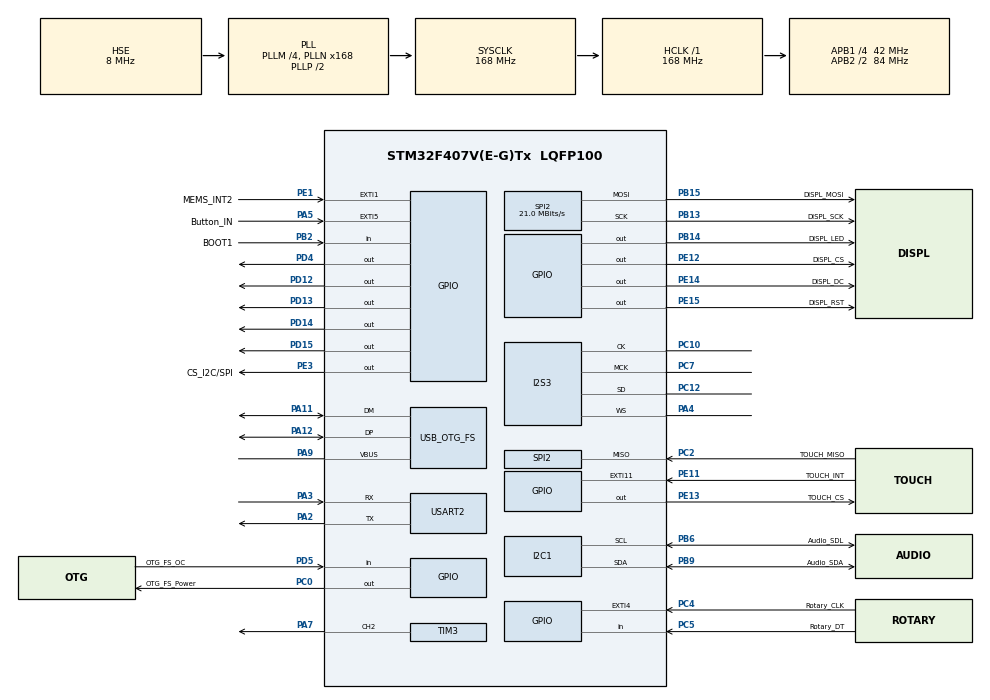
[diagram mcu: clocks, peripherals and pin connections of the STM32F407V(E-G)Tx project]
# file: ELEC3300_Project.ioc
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Dma.Request0=SPI3_TX
Dma.Request1=SPI2_TX
Dma.SPI2_TX.1.Direction=DMA_MEMORY_TO_PERIPH
Dma.SPI2_TX.1.FIFOMode=DMA_FIFOMODE_DISABLE
Dma.SPI2_TX.1.Instance=DMA1_Stream4
Dma.SPI2_TX.1.MemDataAlignment=DMA_MDATAALIGN_BYTE
Dma.SPI2_TX.1.MemInc=DMA_MINC_ENABLE
Dma.SPI2_TX.1.Mode=DMA_NORMAL
Dma.SPI2_TX.1.PeriphDataAlignment=DMA_PDATAALIGN_BYTE
Dma.SPI2_TX.1.PeriphInc=DMA_PINC_DISABLE
Dma.SPI2_TX.1.Priority=DMA_PRIORITY_LOW
Dma.SPI3_TX.0.Direction=DMA_MEMORY_TO_PERIPH
Dma.SPI3_TX.0.FIFOMode=DMA_FIFOMODE_ENABLE
Dma.SPI3_TX.0.FIFOThreshold=DMA_FIFO_THRESHOLD_HALFFULL
Dma.SPI3_TX.0.Instance=DMA1_Stream5
Dma.SPI3_TX.0.MemBurst=DMA_MBURST_SINGLE
Dma.SPI3_TX.0.MemDataAlignment=DMA_MDATAALIGN_HALFWORD
Dma.SPI3_TX.0.MemInc=DMA_MINC_ENABLE
Dma.SPI3_TX.0.Mode=DMA_CIRCULAR
Dma.SPI3_TX.0.PeriphBurst=DMA_PBURST_SINGLE
Dma.SPI3_TX.0.PeriphDataAlignment=DMA_PDATAALIGN_HALFWORD
Dma.SPI3_TX.0.PeriphInc=DMA_PINC_DISABLE
Dma.SPI3_TX.0.Priority=DMA_PRIORITY_LOW
I2S3.ErrorAudioFreq=1.72 %
I2S3.FullDuplexMode=I2S_FULLDUPLEXMODE_DISABLE
I2S3.Instance=SPI$Index
I2S3.RealAudioFreq=8.138 KHz
I2S3.VirtualMode=I2S_MODE_MASTER
Mcu.Family=STM32F4
Mcu.Name=STM32F407V(E-G)Tx
Mcu.Package=LQFP100
NVIC.DMA1_Stream4_IRQn=true\:0\:0\:false\:false\:true\:false\:true\:true
NVIC.DMA1_Stream5_IRQn=true\:0\:0\:false\:false\:true\:false\:true\:true
NVIC.EXTI15_10_IRQn=true\:0\:0\:false\:false\:true\:true\:true\:true
NVIC.EXTI4_IRQn=true\:0\:0\:false\:false\:true\:true\:true\:true
NVIC.EXTI9_5_IRQn=true\:0\:0\:false\:false\:true\:true\:true\:true
NVIC.OTG_FS_IRQn=true\:0\:0\:false\:false\:true\:true\:true\:true
NVIC.PriorityGroup=NVIC_PRIORITYGROUP_0
NVIC.SPI2_IRQn=true\:0\:0\:false\:false\:true\:true\:true\:true
PA10.Signal=USB_OTG_FS_ID
PA11.GPIO_Speed=GPIO_SPEED_FREQ_LOW
PA11.Mode=Host_Only
PA11.Signal=USB_OTG_FS_DM
PA12.GPIO_Speed=GPIO_SPEED_FREQ_LOW
PA12.Mode=Host_Only
PA12.Signal=USB_OTG_FS_DP
PA13.Mode=Serial_Wire
PA13.Signal=SYS_JTMS-SWDIO
PA14.Mode=Serial_Wire
PA14.Signal=SYS_JTCK-SWCLK
PA2.Mode=Asynchronous
PA2.Signal=USART2_TX
PA3.Mode=Asynchronous
PA3.Signal=USART2_RX
PA4.Mode=Half_Duplex_Master
PA4.Signal=I2S3_WS
PA5.GPIO_Label=Button_IN
PA5.Signal=GPXTI5
PA7.Signal=S_TIM3_CH2
PA9.Mode=Activate_VBUS
PA9.Signal=USB_OTG_FS_VBUS
PB13.GPIO_Label=DISPL_SCK
PB13.Mode=Full_Duplex_Master
PB13.Signal=SPI2_SCK
PB14.GPIO_Label=DISPL_LED
PB14.Signal=GPIO_Output
PB15.GPIO_Label=DISPL_MOSI
PB15.Mode=Full_Duplex_Master
PB15.Signal=SPI2_MOSI
PB2.GPIO_Label=BOOT1
PB2.Signal=GPIO_Input
PB6.GPIO_Label=Audio_SDL
PB6.Mode=I2C
PB6.Signal=I2C1_SCL
PB9.GPIO_Label=Audio_SDA
PB9.Mode=I2C
PB9.Signal=I2C1_SDA
PC0.GPIO_Label=OTG_FS_Power
PC0.PinState=GPIO_PIN_SET
PC0.Signal=GPIO_Output
PC10.Mode=Half_Duplex_Master
PC10.Signal=I2S3_CK
PC12.Mode=Half_Duplex_Master
PC12.Signal=I2S3_SD
PC14-OSC32_IN.Mode=LSE-External-Oscillator
PC14-OSC32_IN.Signal=RCC_OSC32_IN
PC15-OSC32_OUT.Mode=LSE-External-Oscillator
PC15-OSC32_OUT.Signal=RCC_OSC32_OUT
PC2.GPIO_Label=TOUCH_MISO
PC2.Mode=Full_Duplex_Master
PC2.Signal=SPI2_MISO
PC4.GPIO_Label=Rotary_CLK
PC4.GPIO_ModeDefaultEXTI=GPIO_MODE_IT_RISING_FALLING
PC4.Signal=GPXTI4
PC5.GPIO_Label=Rotary_DT
PC5.Signal=GPIO_Input
PC7.Mode=Master_Clock_Activated
PC7.Signal=I2S3_MCK
PD12.Signal=GPIO_Output
PD13.Signal=GPIO_Output
PD14.Signal=GPIO_Output
PD15.Signal=GPIO_Output
PD4.Signal=GPIO_Output
PD5.GPIO_Label=OTG_FS_OC
PD5.Signal=GPIO_Input
PE1.GPIO_Label=MEMS_INT2
PE1.Signal=GPXTI1
PE11.GPIO_Label=TOUCH_INT
PE11.GPIO_ModeDefaultEXTI=GPIO_MODE_IT_FALLING
PE11.GPIO_PuPd=GPIO_PULLUP
PE11.Signal=GPXTI11
PE12.GPIO_Label=DISPL_CS
PE12.GPIO_Speed=GPIO_SPEED_FREQ_HIGH
PE12.PinState=GPIO_PIN_SET
PE12.Signal=GPIO_Output
PE13.GPIO_Label=TOUCH_CS
PE13.GPIO_Speed=GPIO_SPEED_FREQ_HIGH
PE13.PinState=GPIO_PIN_SET
PE13.Signal=GPIO_Output
PE14.GPIO_Label=DISPL_DC
PE14.GPIO_Speed=GPIO_SPEED_FREQ_HIGH
PE14.Signal=GPIO_Output
PE15.GPIO_Label=DISPL_RST
PE15.Signal=GPIO_Output
PE3.GPIO_Label=CS_I2C/SPI
PE3.Signal=GPIO_Output
PH0-OSC_IN.Mode=HSE-External-Oscillator
PH0-OSC_IN.Signal=RCC_OSC_IN
PH1-OSC_OUT.Mode=HSE-External-Oscillator
PH1-OSC_OUT.Signal=RCC_OSC_OUT
ProjectManager.HeapSize=0x200
ProjectManager.StackSize=0x400
ProjectManager.TargetToolchain=STM32CubeIDE
RCC.48MHZClocksFreq_Value=48000000
RCC.AHBFreq_Value=168000000
RCC.APB1CLKDivider=RCC_HCLK_DIV4
RCC.APB1Freq_Value=42000000
RCC.APB1TimFreq_Value=84000000
RCC.APB2CLKDivider=RCC_HCLK_DIV2
RCC.APB2Freq_Value=84000000
RCC.APB2TimFreq_Value=168000000
RCC.CortexFreq_Value=168000000
RCC.HCLKFreq_Value=168000000
RCC.HSE_VALUE=8000000
RCC.HSI_VALUE=16000000
RCC.PLLI2SN=50
RCC.PLLM=4
RCC.PLLN=168
RCC.PLLQ=7
RCC.SYSCLKFreq_VALUE=168000000
RCC.SYSCLKSource=RCC_SYSCLKSOURCE_PLLCLK
RCC.VCOOutputFreq_Value=336000000
SH.S_TIM3_CH2.0=TIM3_CH2,PWM Generation2 CH2
SPI2.CalculateBaudRate=21.0 MBits/s
SPI2.Direction=SPI_DIRECTION_2LINES
SPI2.Mode=SPI_MODE_MASTER
SPI2.VirtualType=VM_MASTER
TIM3.Channel-PWM\ Generation2\ CH2=TIM_CHANNEL_2
TIM3.Prescaler=10000
USART2.VirtualMode=VM_ASYNC
USB_HOST.BSP.number=1
USB_HOST.USBH_HandleTypeDef-AUDIO_FS=hUsbHostFS
USB_HOST.VirtualModeFS=Audio
USB_HOST0.BSP.STBoard=false
USB_HOST0.BSP.api=Unknown
USB_HOST0.BSP.i2caddr=0
USB_HOST0.BSP.instance=PC0
USB_HOST0.BSP.ip=GPIO
USB_HOST0.BSP.mode=Output
USB_HOST0.BSP.name=Drive_VBUS_FS
USB_HOST0.BSP.solution=PC0
USB_OTG_FS.VirtualMode=Host_Only
USB_OTG_FS.phy_itface=HCD_PHY_EMBEDDED
VP_CRC_VS_CRC.Mode=CRC_Activate
VP_USB_HOST_VS_USB_HOST_AUDIO_FS.Mode=AUDIO_FS
board=STM32F407G-DISC1

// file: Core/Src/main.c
/* USER CODE BEGIN Header */
/**
  ******************************************************************************
  * @file           : main.c
  * @brief          : Main program body
  ******************************************************************************
  * @attention
  *
  * Copyright (c) 2024 STMicroelectronics.
  * All rights reserved.
  *
  * This software is licensed under terms that can be found in the LICENSE file
  * in the root directory of this software component.
  * If no LICENSE file comes with this software, it is provided AS-IS.
  *
  ******************************************************************************
  */
/* USER CODE END Header */
#include "main.h"
#include "usb_host.h"

/* USER CODE BEGIN Includes */

#include <math.h>
#include "midi.h"
#include "synth.h"
#include "../../Drivers/USBH_midi_class/Inc/usbh_MIDI.h"

/* USER CODE END Includes */

 CRC_HandleTypeDef hcrc;

I2C_HandleTypeDef hi2c1;

I2S_HandleTypeDef hi2s3;
DMA_HandleTypeDef hdma_spi3_tx;

SPI_HandleTypeDef hspi2;
DMA_HandleTypeDef hdma_spi2_tx;

TIM_HandleTypeDef htim3;

UART_HandleTypeDef huart2;

/* USER CODE BEGIN PV */
extern USBH_HandleTypeDef hUsbHostFS;
extern ApplicationTypeDef Appli_state;

#define PI 3.14159f

/* USER CODE END PV */

void SystemClock_Config(void);
static void MX_GPIO_Init(void);
static void MX_DMA_Init(void);
static void MX_I2C1_Init(void);
static void MX_I2S3_Init(void);
static void MX_USART2_UART_Init(void);
static void MX_SPI2_Init(void);
static void MX_CRC_Init(void);
static void MX_TIM3_Init(void);
void MX_USB_HOST_Process(void);

/* USER CODE BEGIN PFP */
/* Private function prototypes -----------------------------------------------*/

/* USER CODE END PFP */

/* USER CODE BEGIN 0 */
int CLKPrevious = 0;
int refreshLCD = 1;
volatile int menu_counter = 0;
volatile int menu2_counter = 0;
volatile int menu3_counter = 0;
volatile int Attack_counter = 0;
volatile int Decay_counter = 0;
volatile int Sustain_counter = 0;
volatile int Release_counter = 0;
volatile int Scale_counter = 0;
volatile int menu2_running = 0;
volatile int menu1_running = 1;
volatile int menu3_running = 0;
volatile int Attack_running = 0;
volatile int Decay_running = 0;
volatile int Sustain_running = 0;
volatile int Release_running = 0;
volatile int Scale_running = 0;
char str[16];
volatile int button_pressed = 0;
volatile int ATT_BACK = 0;
volatile int DEC_BACK = 0;
volatile int SUS_BACK = 0;
volatile int REL_BACK = 0;
volatile int SCL_BACK = 0;
/* USER CODE END 0 */

int main(void)
{
  /* USER CODE BEGIN 1 */
  ApplicationTypeDef last_Appli_state = Appli_state;
  /* USER CODE END 1 */

  /* MCU Configuration--------------------------------------------------------*/

  /* Reset of all peripherals, Initializes the Flash interface and the Systick. */
  HAL_Init();

  /* Configure the system clock */
  SystemClock_Config();

  /* Initialize all configured peripherals */
  MX_GPIO_Init();
  MX_DMA_Init();
  MX_I2C1_Init();
  MX_I2S3_Init();
  MX_USART2_UART_Init();
  MX_USB_HOST_Init();
  MX_SPI2_Init();
  MX_CRC_Init();
  MX_TIM3_Init();
  /* USER CODE BEGIN 2 */
  synth_init();
  Displ_Init(Displ_Orientat_0);			// initialize display controller - set orientation parameter as per your needs
  Displ_CLS(BLACK);						// clear the screen - BLACK or any other color you prefer
  Displ_BackLight('I');  					// initialize backlight
  InitMenu();

  /* USER CODE END 2 */

  /* Infinite loop */
  while (1)
  {
    MX_USB_HOST_Process();

    /* USER CODE BEGIN 3 */

    if(last_Appli_state != Appli_state) {
      last_Appli_state = Appli_state;

      if(Appli_state == APPLICATION_READY) {
        start_midi(); // Initialize midi controller
        callDrawMenu(1);

      }

    }
    if(last_Appli_state != APPLICATION_READY) {
    	continue;
    	// Don't do RunMenu1() when Appli_state != APPLICATION_READY
    }

    if((refreshLCD==1||button_pressed==1)&&menu1_running == 1){
                	RunMenu1(menu_counter, button_pressed);
                	button_pressed = 0;
                	refreshLCD = 0;
            }
            else if((refreshLCD==1||button_pressed==1)&&menu2_running == 1){
            	RunMenu2(menu2_counter, button_pressed);
            	button_pressed = 0;
            	refreshLCD = 0;
            }
            else if((refreshLCD==1||button_pressed==1)&&menu3_running == 1){

                       	RunMenu3(menu3_counter, button_pressed);
                       	button_pressed = 0;
                       	refreshLCD = 0;
            }

  }
  /* USER CODE END 3 */
}

void SystemClock_Config(void)
{
  RCC_OscInitTypeDef RCC_OscInitStruct = {0};
  RCC_ClkInitTypeDef RCC_ClkInitStruct = {0};

  /** Configure the main internal regulator output voltage
  */
  __HAL_RCC_PWR_CLK_ENABLE();
  __HAL_PWR_VOLTAGESCALING_CONFIG(PWR_REGULATOR_VOLTAGE_SCALE1);

  /** Initializes the RCC Oscillators according to the specified parameters
  * in the RCC_OscInitTypeDef structure.
  */
  RCC_OscInitStruct.OscillatorType = RCC_OSCILLATORTYPE_HSE;
  RCC_OscInitStruct.HSEState = RCC_HSE_ON;
  RCC_OscInitStruct.PLL.PLLState = RCC_PLL_ON;
  RCC_OscInitStruct.PLL.PLLSource = RCC_PLLSOURCE_HSE;
  RCC_OscInitStruct.PLL.PLLM = 4;
  RCC_OscInitStruct.PLL.PLLN = 168;
  RCC_OscInitStruct.PLL.PLLP = RCC_PLLP_DIV2;
  RCC_OscInitStruct.PLL.PLLQ = 7;
  if (HAL_RCC_OscConfig(&RCC_OscInitStruct) != HAL_OK)
  {
    Error_Handler();
  }

  /** Initializes the CPU, AHB and APB buses clocks
  */
  RCC_ClkInitStruct.ClockType = RCC_CLOCKTYPE_HCLK|RCC_CLOCKTYPE_SYSCLK
                              |RCC_CLOCKTYPE_PCLK1|RCC_CLOCKTYPE_PCLK2;
  RCC_ClkInitStruct.SYSCLKSource = RCC_SYSCLKSOURCE_PLLCLK;
  RCC_ClkInitStruct.AHBCLKDivider = RCC_SYSCLK_DIV1;
  RCC_ClkInitStruct.APB1CLKDivider = RCC_HCLK_DIV4;
  RCC_ClkInitStruct.APB2CLKDivider = RCC_HCLK_DIV2;

  if (HAL_RCC_ClockConfig(&RCC_ClkInitStruct, FLASH_LATENCY_5) != HAL_OK)
  {
    Error_Handler();
  }
}

static void MX_CRC_Init(void)
{

  hcrc.Instance = CRC;
  if (HAL_CRC_Init(&hcrc) != HAL_OK)
  {
    Error_Handler();
  }

}

static void MX_I2C1_Init(void)
{

  hi2c1.Instance = I2C1;
  hi2c1.Init.ClockSpeed = 100000;
  hi2c1.Init.DutyCycle = I2C_DUTYCYCLE_2;
  hi2c1.Init.OwnAddress1 = 0;
  hi2c1.Init.AddressingMode = I2C_ADDRESSINGMODE_7BIT;
  hi2c1.Init.DualAddressMode = I2C_DUALADDRESS_DISABLE;
  hi2c1.Init.OwnAddress2 = 0;
  hi2c1.Init.GeneralCallMode = I2C_GENERALCALL_DISABLE;
  hi2c1.Init.NoStretchMode = I2C_NOSTRETCH_DISABLE;
  if (HAL_I2C_Init(&hi2c1) != HAL_OK)
  {
    Error_Handler();
  }

}

static void MX_I2S3_Init(void)
{

  hi2s3.Instance = SPI3;
  hi2s3.Init.Mode = I2S_MODE_MASTER_TX;
  hi2s3.Init.Standard = I2S_STANDARD_PHILIPS;
  hi2s3.Init.DataFormat = I2S_DATAFORMAT_16B;
  hi2s3.Init.MCLKOutput = I2S_MCLKOUTPUT_ENABLE;
  hi2s3.Init.AudioFreq = I2S_AUDIOFREQ_8K;
  hi2s3.Init.CPOL = I2S_CPOL_LOW;
  hi2s3.Init.ClockSource = I2S_CLOCK_PLL;
  hi2s3.Init.FullDuplexMode = I2S_FULLDUPLEXMODE_DISABLE;
  if (HAL_I2S_Init(&hi2s3) != HAL_OK)
  {
    Error_Handler();
  }

}

static void MX_SPI2_Init(void)
{

  /* SPI2 parameter configuration*/
  hspi2.Instance = SPI2;
  hspi2.Init.Mode = SPI_MODE_MASTER;
  hspi2.Init.Direction = SPI_DIRECTION_2LINES;
  hspi2.Init.DataSize = SPI_DATASIZE_8BIT;
  hspi2.Init.CLKPolarity = SPI_POLARITY_LOW;
  hspi2.Init.CLKPhase = SPI_PHASE_1EDGE;
  hspi2.Init.NSS = SPI_NSS_SOFT;
  hspi2.Init.BaudRatePrescaler = SPI_BAUDRATEPRESCALER_2;
  hspi2.Init.FirstBit = SPI_FIRSTBIT_MSB;
  hspi2.Init.TIMode = SPI_TIMODE_DISABLE;
  hspi2.Init.CRCCalculation = SPI_CRCCALCULATION_DISABLE;
  hspi2.Init.CRCPolynomial = 10;
  if (HAL_SPI_Init(&hspi2) != HAL_OK)
  {
    Error_Handler();
  }

}

static void MX_TIM3_Init(void)
{

  TIM_MasterConfigTypeDef sMasterConfig = {0};
  TIM_OC_InitTypeDef sConfigOC = {0};

  htim3.Instance = TIM3;
  htim3.Init.Prescaler = 10000;
  htim3.Init.CounterMode = TIM_COUNTERMODE_UP;
  htim3.Init.Period = 65535;
  htim3.Init.ClockDivision = TIM_CLOCKDIVISION_DIV1;
  htim3.Init.AutoReloadPreload = TIM_AUTORELOAD_PRELOAD_DISABLE;
  if (HAL_TIM_PWM_Init(&htim3) != HAL_OK)
  {
    Error_Handler();
  }
  sMasterConfig.MasterOutputTrigger = TIM_TRGO_RESET;
  sMasterConfig.MasterSlaveMode = TIM_MASTERSLAVEMODE_DISABLE;
  if (HAL_TIMEx_MasterConfigSynchronization(&htim3, &sMasterConfig) != HAL_OK)
  {
    Error_Handler();
  }
  sConfigOC.OCMode = TIM_OCMODE_PWM1;
  sConfigOC.Pulse = 0;
  sConfigOC.OCPolarity = TIM_OCPOLARITY_HIGH;
  sConfigOC.OCFastMode = TIM_OCFAST_DISABLE;
  if (HAL_TIM_PWM_ConfigChannel(&htim3, &sConfigOC, TIM_CHANNEL_2) != HAL_OK)
  {
    Error_Handler();
  }
  HAL_TIM_MspPostInit(&htim3);

}

static void MX_USART2_UART_Init(void)
{

  huart2.Instance = USART2;
  huart2.Init.BaudRate = 115200;
  huart2.Init.WordLength = UART_WORDLENGTH_8B;
  huart2.Init.StopBits = UART_STOPBITS_1;
  huart2.Init.Parity = UART_PARITY_NONE;
  huart2.Init.Mode = UART_MODE_TX_RX;
  huart2.Init.HwFlowCtl = UART_HWCONTROL_NONE;
  huart2.Init.OverSampling = UART_OVERSAMPLING_16;
  if (HAL_UART_Init(&huart2) != HAL_OK)
  {
    Error_Handler();
  }

}

static void MX_DMA_Init(void)
{

  /* DMA controller clock enable */
  __HAL_RCC_DMA1_CLK_ENABLE();

  /* DMA interrupt init */
  /* DMA1_Stream4_IRQn interrupt configuration */
  HAL_NVIC_SetPriority(DMA1_Stream4_IRQn, 0, 0);
  HAL_NVIC_EnableIRQ(DMA1_Stream4_IRQn);
  /* DMA1_Stream5_IRQn interrupt configuration */
  HAL_NVIC_SetPriority(DMA1_Stream5_IRQn, 0, 0);
  HAL_NVIC_EnableIRQ(DMA1_Stream5_IRQn);

}

static void MX_GPIO_Init(void)
{
  GPIO_InitTypeDef GPIO_InitStruct = {0};

  /* GPIO Ports Clock Enable */
  __HAL_RCC_GPIOE_CLK_ENABLE();
  __HAL_RCC_GPIOC_CLK_ENABLE();
  __HAL_RCC_GPIOH_CLK_ENABLE();
  __HAL_RCC_GPIOA_CLK_ENABLE();
  __HAL_RCC_GPIOB_CLK_ENABLE();
  __HAL_RCC_GPIOD_CLK_ENABLE();

  /*Configure GPIO pin Output Level */
  HAL_GPIO_WritePin(GPIOE, CS_I2C_SPI_Pin|DISPL_DC_Pin|DISPL_RST_Pin, GPIO_PIN_RESET);

  /*Configure GPIO pin Output Level */
  HAL_GPIO_WritePin(OTG_FS_Power_GPIO_Port, OTG_FS_Power_Pin, GPIO_PIN_SET);

  /*Configure GPIO pin Output Level */
  HAL_GPIO_WritePin(GPIOE, DISPL_CS_Pin|TOUCH_CS_Pin, GPIO_PIN_SET);

  /*Configure GPIO pin Output Level */
  HAL_GPIO_WritePin(DISPL_LED_GPIO_Port, DISPL_LED_Pin, GPIO_PIN_RESET);

  /*Configure GPIO pin Output Level */
  HAL_GPIO_WritePin(GPIOD, GPIO_PIN_12|GPIO_PIN_13|GPIO_PIN_14|GPIO_PIN_15
                          |GPIO_PIN_4, GPIO_PIN_RESET);

  /*Configure GPIO pins : CS_I2C_SPI_Pin DISPL_RST_Pin */
  GPIO_InitStruct.Pin = CS_I2C_SPI_Pin|DISPL_RST_Pin;
  GPIO_InitStruct.Mode = GPIO_MODE_OUTPUT_PP;
  GPIO_InitStruct.Pull = GPIO_NOPULL;
  GPIO_InitStruct.Speed = GPIO_SPEED_FREQ_LOW;
  HAL_GPIO_Init(GPIOE, &GPIO_InitStruct);

  /*Configure GPIO pin : OTG_FS_Power_Pin */
  GPIO_InitStruct.Pin = OTG_FS_Power_Pin;
  GPIO_InitStruct.Mode = GPIO_MODE_OUTPUT_PP;
  GPIO_InitStruct.Pull = GPIO_NOPULL;
  GPIO_InitStruct.Speed = GPIO_SPEED_FREQ_LOW;
  HAL_GPIO_Init(OTG_FS_Power_GPIO_Port, &GPIO_InitStruct);

  /*Configure GPIO pin : Button_IN_Pin */
  GPIO_InitStruct.Pin = Button_IN_Pin;
  GPIO_InitStruct.Mode = GPIO_MODE_IT_RISING;
  GPIO_InitStruct.Pull = GPIO_NOPULL;
  HAL_GPIO_Init(Button_IN_GPIO_Port, &GPIO_InitStruct);

  /*Configure GPIO pin : Rotary_CLK_Pin */
  GPIO_InitStruct.Pin = Rotary_CLK_Pin;
  GPIO_InitStruct.Mode = GPIO_MODE_IT_RISING_FALLING;
  GPIO_InitStruct.Pull = GPIO_NOPULL;
  HAL_GPIO_Init(Rotary_CLK_GPIO_Port, &GPIO_InitStruct);

  /*Configure GPIO pin : Rotary_DT_Pin */
  GPIO_InitStruct.Pin = Rotary_DT_Pin;
  GPIO_InitStruct.Mode = GPIO_MODE_INPUT;
  GPIO_InitStruct.Pull = GPIO_NOPULL;
  HAL_GPIO_Init(Rotary_DT_GPIO_Port, &GPIO_InitStruct);

  /*Configure GPIO pin : BOOT1_Pin */
  GPIO_InitStruct.Pin = BOOT1_Pin;
  GPIO_InitStruct.Mode = GPIO_MODE_INPUT;
  GPIO_InitStruct.Pull = GPIO_NOPULL;
  HAL_GPIO_Init(BOOT1_GPIO_Port, &GPIO_InitStruct);

  /*Configure GPIO pin : TOUCH_INT_Pin */
  GPIO_InitStruct.Pin = TOUCH_INT_Pin;
  GPIO_InitStruct.Mode = GPIO_MODE_IT_FALLING;
  GPIO_InitStruct.Pull = GPIO_PULLUP;
  HAL_GPIO_Init(TOUCH_INT_GPIO_Port, &GPIO_InitStruct);

  /*Configure GPIO pins : DISPL_CS_Pin TOUCH_CS_Pin DISPL_DC_Pin */
  GPIO_InitStruct.Pin = DISPL_CS_Pin|TOUCH_CS_Pin|DISPL_DC_Pin;
  GPIO_InitStruct.Mode = GPIO_MODE_OUTPUT_PP;
  GPIO_InitStruct.Pull = GPIO_NOPULL;
  GPIO_InitStruct.Speed = GPIO_SPEED_FREQ_HIGH;
  HAL_GPIO_Init(GPIOE, &GPIO_InitStruct);

  /*Configure GPIO pin : DISPL_LED_Pin */
  GPIO_InitStruct.Pin = DISPL_LED_Pin;
  GPIO_InitStruct.Mode = GPIO_MODE_OUTPUT_PP;
  GPIO_InitStruct.Pull = GPIO_NOPULL;
  GPIO_InitStruct.Speed = GPIO_SPEED_FREQ_LOW;
  HAL_GPIO_Init(DISPL_LED_GPIO_Port, &GPIO_InitStruct);

  /*Configure GPIO pins : PD12 PD13 PD14 PD15
                           PD4 */
  GPIO_InitStruct.Pin = GPIO_PIN_12|GPIO_PIN_13|GPIO_PIN_14|GPIO_PIN_15
                          |GPIO_PIN_4;
  GPIO_InitStruct.Mode = GPIO_MODE_OUTPUT_PP;
  GPIO_InitStruct.Pull = GPIO_NOPULL;
  GPIO_InitStruct.Speed = GPIO_SPEED_FREQ_LOW;
  HAL_GPIO_Init(GPIOD, &GPIO_InitStruct);

  /*Configure GPIO pin : OTG_FS_OC_Pin */
  GPIO_InitStruct.Pin = OTG_FS_OC_Pin;
  GPIO_InitStruct.Mode = GPIO_MODE_INPUT;
  GPIO_InitStruct.Pull = GPIO_NOPULL;
  HAL_GPIO_Init(OTG_FS_OC_GPIO_Port, &GPIO_InitStruct);

  /*Configure GPIO pin : MEMS_INT2_Pin */
  GPIO_InitStruct.Pin = MEMS_INT2_Pin;
  GPIO_InitStruct.Mode = GPIO_MODE_IT_RISING;
  GPIO_InitStruct.Pull = GPIO_NOPULL;
  HAL_GPIO_Init(MEMS_INT2_GPIO_Port, &GPIO_InitStruct);

  /* EXTI interrupt init*/
  HAL_NVIC_SetPriority(EXTI4_IRQn, 0, 0);
  HAL_NVIC_EnableIRQ(EXTI4_IRQn);

  HAL_NVIC_SetPriority(EXTI9_5_IRQn, 0, 0);
  HAL_NVIC_EnableIRQ(EXTI9_5_IRQn);

  HAL_NVIC_SetPriority(EXTI15_10_IRQn, 0, 0);
  HAL_NVIC_EnableIRQ(EXTI15_10_IRQn);

}

/* USER CODE BEGIN 4 */
void readEncoder()
{
if(menu1_running ==1){
	if(Scale_running==0){
		int CLKNow = HAL_GPIO_ReadPin(GPIOC, GPIO_PIN_4); // Read the state of the CLK pin
		if (CLKNow != CLKPrevious)
		{
			int DTNow = HAL_GPIO_ReadPin(GPIOC, GPIO_PIN_5); // Read the state of the DT pin
			if (DTNow != CLKNow) // If DT state is different from CLK state, encoder is rotating in A direction
			{
				if (menu_counter < 2)
					menu_counter++;
				else
					menu_counter = 0;
			}
			else // Encoder is rotating in B direction
			{
				if (menu_counter < 1)
					menu_counter = 2;
				else
					menu_counter--;
			}
			refreshLCD = 1;
		}
		CLKPrevious = CLKNow; // Store last state of CLK
	}
	else if(Scale_running==1){
		int CLKNow = HAL_GPIO_ReadPin(GPIOC, GPIO_PIN_4); // Read the state of the CLK pin
				if (CLKNow != CLKPrevious)
				{
					int DTNow = HAL_GPIO_ReadPin(GPIOC, GPIO_PIN_5); // Read the state of the DT pin
					if (DTNow != CLKNow) // If DT state is different from CLK state, encoder is rotating in A direction
					{
						if (Scale_counter < 10)
							Scale_counter++;
						else
							Scale_counter = 0;
					}
					else // Encoder is rotating in B direction
					{
						if (Scale_counter < 1)
							Scale_counter = 10;
						else
							Scale_counter--;
					}
					refreshLCD = 1;
				}
				CLKPrevious = CLKNow; // Store last state of CLK
	}
}

else if (menu2_running ==1){
	int CLKNow = HAL_GPIO_ReadPin(GPIOC, GPIO_PIN_4); // Read the state of the CLK pin
	    if (CLKNow != CLKPrevious)
	    {
	        int DTNow = HAL_GPIO_ReadPin(GPIOC, GPIO_PIN_5); // Read the state of the DT pin
	        if (DTNow != CLKNow) // If DT state is different from CLK state, encoder is rotating in A direction
	        {
	            if (menu2_counter < 4)
	                menu2_counter++;
	            else
	                menu2_counter = 0;
	        }
	        else // Encoder is rotating in B direction
	        {
	            if (menu2_counter < 1)
	                menu2_counter = 4;
	            else
	                menu2_counter--;
	        }
	        refreshLCD = 1;
	    }
	    CLKPrevious = CLKNow; // Store last state of CLK
}
else if (menu3_running ==1){
	if(Attack_running == 0 && Decay_running == 0 && Sustain_running == 0 && Release_running == 0){
			int CLKNow = HAL_GPIO_ReadPin(GPIOC, GPIO_PIN_4); // Read the state of the CLK pin
	    	if (CLKNow != CLKPrevious)
	    	{
	    		int DTNow = HAL_GPIO_ReadPin(GPIOC, GPIO_PIN_5); // Read the state of the DT pin
	    		if (DTNow != CLKNow) // If DT state is different from CLK state, encoder is rotating in A direction
	    		{
	    			if (menu3_counter < 4)
	    				menu3_counter++;
	    			else
	    				menu3_counter = 0;
	    		}
	    		else // Encoder is rotating in B direction
	    		{
	    			if (menu3_counter < 1)
	    				menu3_counter = 4;
	    			else
	    				menu3_counter--;
	    		}
	    		refreshLCD = 1;
	    	}
	    CLKPrevious = CLKNow; // Store last state of CLK
	}
	else if(Attack_running == 1){
		int CLKNow = HAL_GPIO_ReadPin(GPIOC, GPIO_PIN_4); // Read the state of the CLK pin
			    	if (CLKNow != CLKPrevious)
			    	{
			    		int DTNow = HAL_GPIO_ReadPin(GPIOC, GPIO_PIN_5); // Read the state of the DT pin
			    		if (DTNow != CLKNow) // If DT state is different from CLK state, encoder is rotating in A direction
			    		{
			    			if (Attack_counter < 10)
			    				Attack_counter++;
			    			else
			    				Attack_counter = 0;
			    		}
			    		else // Encoder is rotating in B direction
			    		{
			    			if (Attack_counter < 1)
			    				Attack_counter = 10;
			    			else
			    				Attack_counter--;
			    		}
			    		refreshLCD = 1;
			    	}
			    CLKPrevious = CLKNow; // Store last state of CLK
	}
	else if(Decay_running == 1){
		int CLKNow = HAL_GPIO_ReadPin(GPIOC, GPIO_PIN_4); // Read the state of the CLK pin
					    	if (CLKNow != CLKPrevious)
					    	{
					    		int DTNow = HAL_GPIO_ReadPin(GPIOC, GPIO_PIN_5); // Read the state of the DT pin
					    		if (DTNow != CLKNow) // If DT state is different from CLK state, encoder is rotating in A direction
					    		{
					    			if (Decay_counter < 10)
					    				Decay_counter++;
					    			else
					    				Decay_counter = 0;
					    		}
					    		else // Encoder is rotating in B direction
					    		{
					    			if (Decay_counter < 1)
					    				Decay_counter = 10;
					    			else
					    				Decay_counter--;
					    		}
					    		refreshLCD = 1;
					    	}
					    CLKPrevious = CLKNow; // Store last state of CLK
	}
	else if(Sustain_running == 1){
		int CLKNow = HAL_GPIO_ReadPin(GPIOC, GPIO_PIN_4); // Read the state of the CLK pin
					    	if (CLKNow != CLKPrevious)
					    	{
					    		int DTNow = HAL_GPIO_ReadPin(GPIOC, GPIO_PIN_5); // Read the state of the DT pin
					    		if (DTNow != CLKNow) // If DT state is different from CLK state, encoder is rotating in A direction
					    		{
					    			if (Sustain_counter < 10)
					    				Sustain_counter++;
					    			else
					    				Sustain_counter = 0;
					    		}
					    		else // Encoder is rotating in B direction
					    		{
					    			if (Sustain_counter < 1)
					    				Sustain_counter = 10;
					    			else
					    				Sustain_counter--;
					    		}
					    		refreshLCD = 1;
					    	}
					    CLKPrevious = CLKNow; // Store last state of CLK
	}
	else if(Release_running == 1){
		int CLKNow = HAL_GPIO_ReadPin(GPIOC, GPIO_PIN_4); // Read the state of the CLK pin
							    	if (CLKNow != CLKPrevious)
							    	{
							    		int DTNow = HAL_GPIO_ReadPin(GPIOC, GPIO_PIN_5); // Read the state of the DT pin
							    		if (DTNow != CLKNow) // If DT state is different from CLK state, encoder is rotating in A direction
							    		{
							    			if (Release_counter < 10)
							    				Release_counter++;
							    			else
							    				Release_counter = 0;
							    		}
							    		else // Encoder is rotating in B direction
							    		{
							    			if (Release_counter < 1)
							    				Release_counter = 10;
							    			else
							    				Release_counter--;
							    		}
							    		refreshLCD = 1;
							    	}
							    CLKPrevious = CLKNow; // Store last state of CLK
	}
}
}

void Button_Control(){
	button_pressed = 1;
	if(Attack_running ==1){
		ATT_BACK = 1;
	}
	if(Decay_running ==1){
			DEC_BACK = 1;
	}
	if(Sustain_running ==1){
			SUS_BACK = 1;
	}
	if(Release_running ==1){
			REL_BACK = 1;
	}
	if(Scale_running ==1){
			SCL_BACK = 1;
	}
}
/* USER CODE END 4 */

void Error_Handler(void)
{
  while(1)
  {
  }
}
